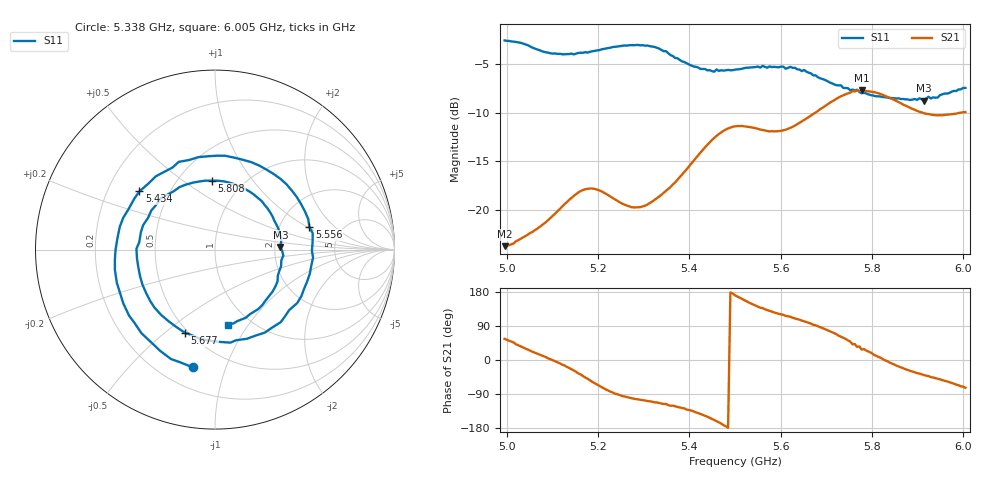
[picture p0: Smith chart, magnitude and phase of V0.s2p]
!File created by NanoVNA
# Hz S RI R 50
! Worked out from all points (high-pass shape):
!   201 points, 4.995 GHz to 6.005 GHz, reference 50 ohm
!   highest |S21| = -7.68 dB at 5.778 GHz (marker M1); lowest = -23.8 dB at 4.995 GHz (marker M2)
!   |S21| within 3 dB of the highest: 5.654 GHz to end of sweep
!   lowest |S11| = -8.8 dB at 5.914 GHz (marker M3), VSWR 2.15, Z = 107 + j3.48 ohm
!   |S11| at or under -10 dB: nowhere
!   S12 and S22 are empty: the file has one direction only
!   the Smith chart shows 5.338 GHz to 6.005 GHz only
!   S11 on the Smith chart (normalised r, x): 5.338 GHz: 0.33, -0.78; 5.434 GHz: 0.34, +0.31; 5.556 GHz: 2.93, +1.05; 5.677 GHz: 0.48, -0.59; 5.808 GHz: 0.72, +0.65; 6.005 GHz: 0.79, -0.81
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4.995e9  0.2276 -0.7105  0.0363 0.0536  0 0  0 0
5.03035e9  -0.2868 -0.6666  0.0572 0.0416  0 0  0 0
5.0758e9  -0.6467 -0.1199  0.0809 0.017  0 0  0 0
5.1263e9  -0.3967 0.4933  0.1033 -0.0268  0 0  0 0
5.1667e9  0.0922 0.6376  0.0934 -0.0848  0 0  0 0
5.2172e9  0.5984 0.3212  0.0255 -0.1178  0 0  0 0
5.25255e9  0.6934 -0.091  -0.00939 -0.107  0 0  0 0
5.33335e9  -0.0478 -0.6761  -0.0462 -0.1071  0 0  0 0
5.3384e9  -0.123 -0.6564  -0.049 -0.1087  0 0  0 0
5.3889e9  -0.5472 -0.1838  -0.0954 -0.1237  0 0  0 0
5.43435e9  -0.4209 0.3245  -0.1764 -0.1131  0 0  0 0
5.5e9  0.2013 0.4875  -0.2654 0.0441  0 0  0 0
5.55555e9  0.5254 0.1264  -0.192 0.1732  0 0  0 0
5.60605e9  0.4582 -0.2977  -0.1255 0.2239  0 0  0 0
5.6717e9  -0.1471 -0.47  -0.015 0.3111  0 0  0 0
5.67675e9  -0.1673 -0.4636  -0.00915 0.3168  0 0  0 0
5.72725e9  -0.4347 -0.0484  0.1654 0.341  0 0  0 0
5.77775e9  -0.23 0.325  0.3664 0.1911  0 0  0 0
5.80805e9  -0.017 0.3843  0.3937 0.0819  0 0  0 0
5.83835e9  0.1632 0.3395  0.3753 -0.0421  0 0  0 0
5.9141e9  0.3649 0.0141  0.2416 -0.2012  0 0  0 0
6.005e9  0.0718 -0.4185  0.0918 -0.305  0 0  0 0
